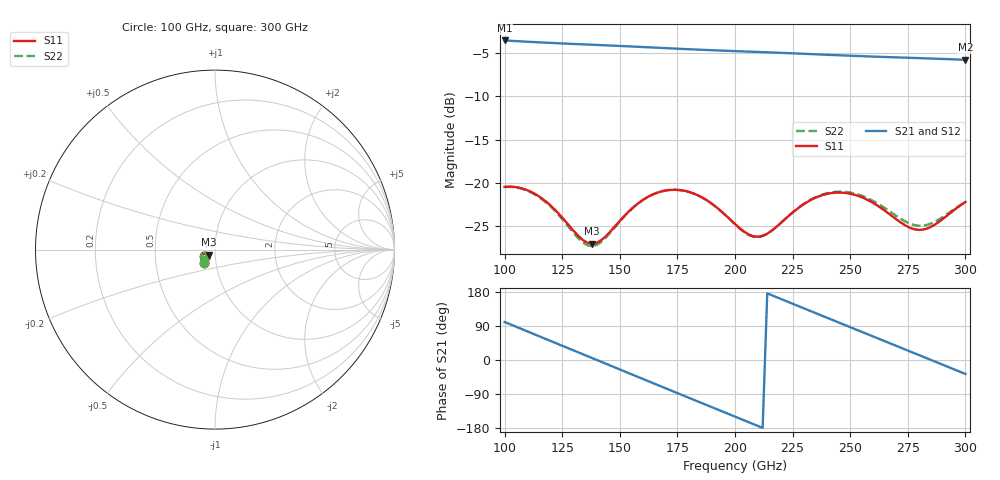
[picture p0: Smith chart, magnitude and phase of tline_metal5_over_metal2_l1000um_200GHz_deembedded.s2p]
! Created with skrf 2.2.0 (http://scikit-rf.org).
# GHz S DB R 50.0
! Port[1] = P1
! Port[2] = P2
!freq dBS11 angS11 dBS21 angS21 dBS12 angS12 dBS22 angS22
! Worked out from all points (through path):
!   101 points, 100 GHz to 300 GHz, reference 50 ohm
!   highest |S21| = -3.52 dB at 100 GHz (marker M1); lowest = -5.8 dB at 300 GHz (marker M2)
!   group delay of S21, straight-line fit = 6.9 ps
!   lowest |S11| = -27.0 dB at 138 GHz (marker M3), VSWR 1.09, Z = 46.6 - j2.58 ohm
!   |S11| at or under -10 dB: start of sweep to end of sweep
!   |S22| runs from -27.3 to -20.4 dB; largest |S21 - S12| = 7.5e-14
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100  -20.45 -129.6  -3.52 100.3  -3.52 100.3  -20.47 -129.3
108  -20.66 -142.8  -3.64 80.2  -3.64 80.2  -20.71 -142.7
116  -21.75 -154.0  -3.75 60.2  -3.75 60.2  -21.83 -154.0
126  -24.31 -160.2  -3.88 35.2  -3.88 35.2  -24.49 -160.3
134  -26.60 -151.3  -3.97 15.1  -3.97 15.1  -26.89 -150.7
138  -27.03 -141.6  -4.02 5.1  -4.02 5.1  -27.31 -140.3
152  -23.80 -122.9  -4.18 -30.0  -4.18 -30.0  -23.85 -121.3
168  -20.98 -137.4  -4.38 -69.9  -4.38 -69.9  -20.98 -136.3
176  -20.82 -147.8  -4.49 -89.8  -4.49 -89.8  -20.82 -146.9
184  -21.44 -157.3  -4.58 -109.7  -4.58 -109.7  -21.45 -156.6
200  -24.74 -162.9  -4.75 -149.4  -4.75 -149.4  -24.79 -162.2
208  -26.16 -151.3  -4.83 -169.2  -4.83 -169.2  -26.22 -150.3
216  -25.50 -136.5  -4.91 170.9  -4.91 170.9  -25.52 -135.2
224  -23.65 -131.5  -5.00 151.0  -5.00 151.0  -23.63 -130.2
234  -21.82 -136.5  -5.11 126.2  -5.11 126.2  -21.76 -135.3
242  -21.17 -144.4  -5.20 106.4  -5.20 106.4  -21.08 -143.2
250  -21.24 -152.8  -5.29 86.6  -5.29 86.6  -21.11 -151.6
258  -22.02 -159.6  -5.37 66.9  -5.37 66.9  -21.81 -158.4
268  -23.80 -161.9  -5.46 42.3  -5.46 42.3  -23.44 -161.1
278  -25.37 -151.5  -5.55 17.6  -5.55 17.6  -24.88 -152.4
284  -25.20 -141.5  -5.60 2.7  -5.60 2.7  -24.80 -143.9
300  -22.19 -133.8  -5.75 -36.8  -5.75 -36.8  -22.20 -137.1
